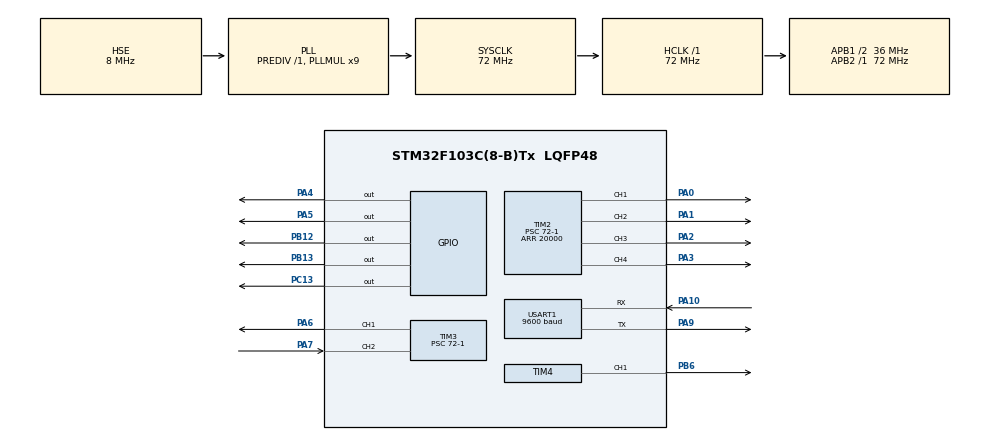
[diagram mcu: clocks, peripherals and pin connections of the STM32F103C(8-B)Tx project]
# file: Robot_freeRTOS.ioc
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FREERTOS.Tasks01=defaultTask,0,128,StartDefaultTask,Default,NULL,Dynamic,NULL,NULL;myTask02,0,128,StartTask02,Default,NULL,Dynamic,NULL,NULL;myTask03,0,128,StartTask03,Default,NULL,Dynamic,NULL,NULL;myTask04,0,128,StartTask04,Default,NULL,Dynamic,NULL,NULL;myTask05,0,128,StartTask05,Default,NULL,Dynamic,NULL,NULL
FREERTOS.configTOTAL_HEAP_SIZE=10000
Mcu.Family=STM32F1
Mcu.Name=STM32F103C(8-B)Tx
Mcu.Package=LQFP48
NVIC.PriorityGroup=NVIC_PRIORITYGROUP_4
NVIC.TIM1_UP_IRQn=true\:0\:0\:false\:false\:true\:false\:false\:true
NVIC.TIM3_IRQn=true\:5\:0\:false\:false\:true\:true\:true\:true
NVIC.TimeBase=TIM1_UP_IRQn
NVIC.TimeBaseIP=TIM1
PA0-WKUP.Signal=S_TIM2_CH1_ETR
PA1.Signal=S_TIM2_CH2
PA10.Mode=Asynchronous
PA10.Signal=USART1_RX
PA13.Mode=Serial_Wire
PA13.Signal=SYS_JTMS-SWDIO
PA14.Mode=Serial_Wire
PA14.Signal=SYS_JTCK-SWCLK
PA2.Signal=S_TIM2_CH3
PA3.Signal=S_TIM2_CH4
PA4.GPIO_Speed=GPIO_SPEED_FREQ_LOW
PA4.Signal=GPIO_Output
PA5.Signal=GPIO_Output
PA6.Signal=S_TIM3_CH1
PA7.GPIO_PuPd=GPIO_PULLUP
PA7.Signal=S_TIM3_CH2
PA9.Mode=Asynchronous
PA9.Signal=USART1_TX
PB12.GPIO_Speed=GPIO_SPEED_FREQ_HIGH
PB12.Signal=GPIO_Output
PB13.GPIO_Speed=GPIO_SPEED_FREQ_HIGH
PB13.Signal=GPIO_Output
PB6.Signal=S_TIM4_CH1
PC13-TAMPER-RTC.Signal=GPIO_Output
PD0-OSC_IN.Mode=HSE-External-Oscillator
PD0-OSC_IN.Signal=RCC_OSC_IN
PD1-OSC_OUT.Mode=HSE-External-Oscillator
PD1-OSC_OUT.Signal=RCC_OSC_OUT
ProjectManager.HeapSize=0x200
ProjectManager.StackSize=0x400
ProjectManager.TargetToolchain=MDK-ARM V5
RCC.AHBFreq_Value=72000000
RCC.APB1CLKDivider=RCC_HCLK_DIV2
RCC.APB1Freq_Value=36000000
RCC.APB1TimFreq_Value=72000000
RCC.APB2Freq_Value=72000000
RCC.APB2TimFreq_Value=72000000
RCC.HCLKFreq_Value=72000000
RCC.PLLMUL=RCC_PLL_MUL9
RCC.PLLSourceVirtual=RCC_PLLSOURCE_HSE
RCC.SYSCLKFreq_VALUE=72000000
RCC.SYSCLKSource=RCC_SYSCLKSOURCE_PLLCLK
RCC.USBFreq_Value=72000000
SH.S_TIM2_CH1_ETR.0=TIM2_CH1,PWM Generation1 CH1
SH.S_TIM2_CH2.0=TIM2_CH2,PWM Generation2 CH2
SH.S_TIM2_CH3.0=TIM2_CH3,PWM Generation3 CH3
SH.S_TIM2_CH4.0=TIM2_CH4,PWM Generation4 CH4
SH.S_TIM3_CH1.0=TIM3_CH1,PWM Generation1 CH1
SH.S_TIM3_CH2.0=TIM3_CH2,Input_Capture2_from_TI2
SH.S_TIM4_CH1.0=TIM4_CH1,PWM Generation1 CH1
TIM2.AutoReloadPreload=TIM_AUTORELOAD_PRELOAD_ENABLE
TIM2.Channel-PWM\ Generation1\ CH1=TIM_CHANNEL_1
TIM2.Channel-PWM\ Generation2\ CH2=TIM_CHANNEL_2
TIM2.Channel-PWM\ Generation3\ CH3=TIM_CHANNEL_3
TIM2.Channel-PWM\ Generation4\ CH4=TIM_CHANNEL_4
TIM2.Period=20000
TIM2.Prescaler=72-1
TIM3.AutoReloadPreload=TIM_AUTORELOAD_PRELOAD_ENABLE
TIM3.Channel-Input_Capture2_from_TI2=TIM_CHANNEL_2
TIM3.Channel-PWM\ Generation1\ CH1=TIM_CHANNEL_1
TIM3.Period=65535
TIM3.Prescaler=72-1
TIM4.AutoReloadPreload=TIM_AUTORELOAD_PRELOAD_ENABLE
TIM4.Channel-PWM\ Generation1\ CH1=TIM_CHANNEL_1
TIM4.Period=1000
TIM4.Prescaler=72-1
USART1.BaudRate=9600
USART1.VirtualMode=VM_ASYNC
VP_FREERTOS_VS_CMSIS_V1.Mode=CMSIS_V1
VP_SYS_VS_tim1.Mode=TIM1
board=custom

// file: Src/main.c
/* USER CODE BEGIN Header */
/**
  ******************************************************************************
  * @file           : main.c
  * @brief          : Main program body
  ******************************************************************************
  * @attention
  *
  * <h2><center>&copy; Copyright (c) 2021 STMicroelectronics.
  * All rights reserved.</center></h2>
  *
  * This software component is licensed by ST under Ultimate Liberty license
  * SLA0044, the "License"; You may not use this file except in compliance with
  * the License. You may obtain a copy of the License at:
  *                             www.st.com/SLA0044
  *
  ******************************************************************************
  */
/* USER CODE END Header */

#include "main.h"
#include "cmsis_os.h"
#include "tim.h"
#include "usart.h"
#include "gpio.h"

void SystemClock_Config(void);
void MX_FREERTOS_Init(void);

int main(void)
{

  /* MCU Configuration--------------------------------------------------------*/

  /* Reset of all peripherals, Initializes the Flash interface and the Systick. */
  HAL_Init();

  /* Configure the system clock */
  SystemClock_Config();

  /* Initialize all configured peripherals */
  MX_GPIO_Init();
  MX_TIM2_Init();
  MX_TIM3_Init();
  MX_USART1_UART_Init();
  MX_TIM4_Init();

  /* Call init function for freertos objects (in freertos.c) */
  MX_FREERTOS_Init();

  /* Start scheduler */
  osKernelStart();

  /* We should never get here as control is now taken by the scheduler */

  /* Infinite loop */
  while (1)
  {

  }
}

void SystemClock_Config(void)
{
  RCC_OscInitTypeDef RCC_OscInitStruct = {0};
  RCC_ClkInitTypeDef RCC_ClkInitStruct = {0};

  /** Initializes the CPU, AHB and APB busses clocks
  */
  RCC_OscInitStruct.OscillatorType = RCC_OSCILLATORTYPE_HSE;
  RCC_OscInitStruct.HSEState = RCC_HSE_ON;
  RCC_OscInitStruct.HSEPredivValue = RCC_HSE_PREDIV_DIV1;
  RCC_OscInitStruct.HSIState = RCC_HSI_ON;
  RCC_OscInitStruct.PLL.PLLState = RCC_PLL_ON;
  RCC_OscInitStruct.PLL.PLLSource = RCC_PLLSOURCE_HSE;
  RCC_OscInitStruct.PLL.PLLMUL = RCC_PLL_MUL9;
  if (HAL_RCC_OscConfig(&RCC_OscInitStruct) != HAL_OK)
  {
    Error_Handler();
  }
  /** Initializes the CPU, AHB and APB busses clocks
  */
  RCC_ClkInitStruct.ClockType = RCC_CLOCKTYPE_HCLK|RCC_CLOCKTYPE_SYSCLK
                              |RCC_CLOCKTYPE_PCLK1|RCC_CLOCKTYPE_PCLK2;
  RCC_ClkInitStruct.SYSCLKSource = RCC_SYSCLKSOURCE_PLLCLK;
  RCC_ClkInitStruct.AHBCLKDivider = RCC_SYSCLK_DIV1;
  RCC_ClkInitStruct.APB1CLKDivider = RCC_HCLK_DIV2;
  RCC_ClkInitStruct.APB2CLKDivider = RCC_HCLK_DIV1;

  if (HAL_RCC_ClockConfig(&RCC_ClkInitStruct, FLASH_LATENCY_2) != HAL_OK)
  {
    Error_Handler();
  }
}

void HAL_TIM_PeriodElapsedCallback(TIM_HandleTypeDef *htim)
{
  if (htim->Instance == TIM1) {
    HAL_IncTick();
  }
}

void Error_Handler(void)
{
}

/************************ (C) COPYRIGHT STMicroelectronics *****END OF FILE****/

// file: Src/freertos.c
/* USER CODE BEGIN Header */
/**
  ******************************************************************************
  * File Name          : freertos.c
  * Description        : Code for freertos applications
  ******************************************************************************
  * @attention
  *
  * <h2><center>&copy; Copyright (c) 2021 STMicroelectronics.
  * All rights reserved.</center></h2>
  *
  * This software component is licensed by ST under Ultimate Liberty license
  * SLA0044, the "License"; You may not use this file except in compliance with
  * the License. You may obtain a copy of the License at:
  *                             www.st.com/SLA0044
  *
  ******************************************************************************
  */
/* USER CODE END Header */

#include "FreeRTOS.h"
#include "task.h"
#include "main.h"
#include "cmsis_os.h"

/* USER CODE BEGIN Includes */
#include "robot.h"
#include "usart.h"
#include "st7565.h"
#include "pic.h"
/* USER CODE END Includes */

/* USER CODE BEGIN PM */

/*****************************************************************************************任务调度变量**/

unsigned char Task02end=1;  //线程2完成标志位
unsigned char Task03end=1;  //线程3完成标志位
unsigned char Step=0;       //步骤

unsigned char delay_time=25;//舵机间隔时间
unsigned char buff='4';//3动

unsigned int light=900;//背光0-1000

unsigned char image_num=7;//LCD显示的表情  1-9

unsigned char flag=0;

/********************************************************************************************红外*/
uint32_t upcount=0;//定时器更新的

unsigned int value_up=0;//上升沿的值
unsigned int value_down=0;

unsigned char isUpCapt=1;//是不是上升沿

unsigned int width=0;//储存脉宽

unsigned int buffer[48]={0};//红外接收缓冲区
unsigned char buffer_id=0;  //储存位置，从0开始放

unsigned char rcvFlag=0;//接收完标志位

void HAL_TIM_PWM_PulseFinishedCallback(TIM_HandleTypeDef *htim)
{
	if(htim==&htim3)
	{
		upcount++;
	}

}
void HAL_TIM_IC_CaptureCallback(TIM_HandleTypeDef *htim)
{
	if(htim==&htim3)
	{
		if(isUpCapt)//如果是上升沿捕获
	{
	value_up=HAL_TIM_ReadCapturedValue(htim,TIM_CHANNEL_2);//捕获上升沿的值
	isUpCapt=0;//设置为下降沿
	__HAL_TIM_SET_CAPTUREPOLARITY(htim,TIM_CHANNEL_2,TIM_ICPOLARITY_FALLING);//设置为下降沿捕获
	upcount=0;
	}
	else
	{
		value_down=HAL_TIM_ReadCapturedValue(htim,TIM_CHANNEL_2);//捕获下降沿的值
		isUpCapt=1;//设置为上升沿
		__HAL_TIM_SET_CAPTUREPOLARITY(htim,TIM_CHANNEL_2,TIM_ICPOLARITY_RISING);//设置为上升沿捕获
		width=value_down+upcount*65536-value_up;

		if(width>4400&&width<4600)//检测是否是同步码，4.5ms
		{
			buffer_id=0;
			buffer[buffer_id]=width;
			buffer_id++;
		}
		else if(buffer_id>0)//如果同步码收到了
		{
			buffer[buffer_id]=width;
			buffer_id++;
			if(buffer_id>32)
			{
				rcvFlag=1;
				buffer_id=0;//地址清零
			}
		}
	}
	}

}

uint32_t ir_value()
{
	uint32_t RCV_Value=0;//转换完后的
	if(rcvFlag==1)//如果收到了
	 {

		 for(unsigned char i=1;i<33;i++)
		 {
			 if(buffer[i]>500&&buffer[i]<700)//如果是低电平
			 {

				 RCV_Value=RCV_Value<<1;
			 }
			 else//否则是高电平
			 {
				 RCV_Value=RCV_Value|0x00000001;
				 RCV_Value=RCV_Value<<1;
			 }

		 }
		 RCV_Value=RCV_Value>>1;
		// printf("%X",RCV_Value);
		 for(unsigned char i=0;i<33;i++)//缓存区重置
		 {
			 buffer[i]=0;
		 }

		 rcvFlag=0;
		 return RCV_Value;
	 }
	 else
	 {
		 return 0;
	 }

}
void ir_Handler(uint32_t data)//红外任务
{
	/*
	用户码：00FF

	1: A25D    2: 629D    3:  E21D

	4: 22DD    5: 02FD    6:  C23D

	7: E01F    8: A857    9:  906F

 	*: 6897    0: 9867    #:  B04F

	          ↑：18E7

    ←：10EF  OK:38C7   →：5AA5

              ↓：4AB5

	*/
	if(data==0xFF6897)//按下*开始走
	{
		buff='3';
	}
	if(data==0xFFB04F)//按下#停止
	{
		buff='4';
	}

	if(data==0xFFA25D)
	{
		image_num=1;

	}
	if(data==0xFF629D)
	{
		image_num=2;
	}
	if(data==0xFFE21D)
	{
		image_num=3;
	}
	if(data==0xFF22DD)
	{
		image_num=4;
	}
	if(data==0xFF02FD)
	{
		image_num=5;
	}
	if(data==0xFFC23D)
	{
		image_num=6;
	}
	if(data==0xFFE01F)
	{
		image_num=7;
	}
	if(data==0xFFA857)
	{
		image_num=8;
	}
	if(data==0xFF906F)
	{
		image_num=9;
	}

	/*HAL_GPIO_WritePin(GPIOC,GPIO_PIN_13,0);
	osDelay(500);
	HAL_GPIO_WritePin(GPIOC,GPIO_PIN_13,1);*/

}

/* USER CODE END PM */

osThreadId defaultTaskHandle;
osThreadId myTask02Handle;
osThreadId myTask03Handle;
osThreadId myTask04Handle;
osThreadId myTask05Handle;

void StartDefaultTask(void const * argument);
void StartTask02(void const * argument);
void StartTask03(void const * argument);
void StartTask04(void const * argument);
void StartTask05(void const * argument);

void MX_FREERTOS_Init(void); /* (MISRA C 2004 rule 8.1) */

void MX_FREERTOS_Init(void) {

  /* Create the thread(s) */
  /* definition and creation of defaultTask */
  osThreadDef(defaultTask, StartDefaultTask, osPriorityNormal, 0, 128);
  defaultTaskHandle = osThreadCreate(osThread(defaultTask), NULL);

  /* definition and creation of myTask02 */
  osThreadDef(myTask02, StartTask02, osPriorityNormal, 0, 128);
  myTask02Handle = osThreadCreate(osThread(myTask02), NULL);

  /* definition and creation of myTask03 */
  osThreadDef(myTask03, StartTask03, osPriorityNormal, 0, 128);
  myTask03Handle = osThreadCreate(osThread(myTask03), NULL);

  /* definition and creation of myTask04 */
  osThreadDef(myTask04, StartTask04, osPriorityNormal, 0, 128);
  myTask04Handle = osThreadCreate(osThread(myTask04), NULL);

  /* definition and creation of myTask05 */
  osThreadDef(myTask05, StartTask05, osPriorityNormal, 0, 128);
  myTask05Handle = osThreadCreate(osThread(myTask05), NULL);

}

void StartDefaultTask(void const * argument)//主线程，分配舵机任务
{

    robot_init();

	initial_lcd();

  /* USER CODE BEGIN StartDefaultTask */
  /* Infinite loop */
  for(;;)
  {
	   __HAL_TIM_SET_COMPARE(&htim4, TIM_CHANNEL_1,light);

	  if(buff=='3')
	  {

		Step=1;//运行步骤一
		Task02end=1;
		Task03end=1;
		while(Task02end==1||Task03end==1)//等待完成
		{
			osDelay(100);
		}

		Step=2;//运行步骤二
		Task02end=1;
		Task03end=1;
		while(Task02end==1||Task03end==1)//等待完成
		{
			osDelay(100);
		}

		Step=3;//运行步骤三
		Task02end=1;
		while(Task02end==1)//等待完成
		{
			osDelay(100);
		}

		Step=4;//运行步骤四
		Task02end=1;
		while(Task02end==1)//等待完成
		{
			osDelay(100);
		}

		Step=5;//运行步骤五
		Task02end=1;
		Task03end=1;
		while(Task02end==1||Task03end==1)//等待完成
		{
			osDelay(100);
		}

		Step=6;//运行步骤六
		Task02end=1;
		Task03end=1;
		while(Task02end==1||Task03end==1)//等待完成
		{
			osDelay(100);
		}

		Step=7;//运行步骤七
		Task02end=1;
		while(Task02end==1)//等待完成
		{
			osDelay(100);
		}

		Step=8;//运行步骤八
		Task02end=1;
		while(Task02end==1)//等待完成
		{
			osDelay(100);
		}

	}
	  else
	  {
		  __HAL_TIM_SET_COMPARE(&htim2, TIM_CHANNEL_1,angle_to_duty_cycle(70));//左脚
		  __HAL_TIM_SET_COMPARE(&htim2, TIM_CHANNEL_2,angle_to_duty_cycle(90));//左跨
	      __HAL_TIM_SET_COMPARE(&htim2, TIM_CHANNEL_3,angle_to_duty_cycle(79));//右脚
	      __HAL_TIM_SET_COMPARE(&htim2, TIM_CHANNEL_4,angle_to_duty_cycle(95));//右跨
	  }

  }
  /* USER CODE END StartDefaultTask */
}

void StartTask02(void const * argument)//舵机同时运动线程1
{
  /* USER CODE BEGIN StartTask02 */
  /* Infinite loop */
  for(;;)
  {

			if(Step==1&&Task02end==1)
			{
				osDelay(500);
				for(unsigned char i=70;i<=90;i++)//右脚抬起
				{
					__HAL_TIM_SET_COMPARE(&htim2, TIM_CHANNEL_1,angle_to_duty_cycle(i));
					osDelay(delay_time);
				}
				Task02end=0;
			}
			if(Step==2&&Task02end==1)
			{

				for(unsigned char i=90;i>=70;i--)//左跨向前转
				{
					__HAL_TIM_SET_COMPARE(&htim2, TIM_CHANNEL_2,angle_to_duty_cycle(i));
					osDelay(delay_time);
				}
				Task02end=0;
			}

			if(Step==3&&Task02end==1)
			{
				for(unsigned char i=90;i>=70;i--)//右脚放下
				{
					__HAL_TIM_SET_COMPARE(&htim2, TIM_CHANNEL_1,angle_to_duty_cycle(i));
					osDelay(delay_time);
				}

				Task02end=0;
			}
			if(Step==4&&Task02end==1)
			{
				for(unsigned char i=70;i<=90;i++)//左跨复位
				{
					__HAL_TIM_SET_COMPARE(&htim2, TIM_CHANNEL_2,angle_to_duty_cycle(i));
					osDelay(delay_time);
				}
				Task02end=0;
			}
			if(Step==5&&Task02end==1)
			{
				osDelay(500);
				for(unsigned char i=79;i>=59;i--)//左跨复位
				{
					__HAL_TIM_SET_COMPARE(&htim2, TIM_CHANNEL_3,angle_to_duty_cycle(i));
					osDelay(delay_time);
				}
				Task02end=0;
			}
			if(Step==6&&Task02end==1)
			{
				for(unsigned char i=95;i<=115;i++)
				{
					__HAL_TIM_SET_COMPARE(&htim2, TIM_CHANNEL_4,angle_to_duty_cycle(i));
					osDelay(delay_time);
				}
				Task02end=0;
			}
			if(Step==7&&Task02end==1)
			{
				for(unsigned char i=59;i<=79;i++)
				{
					__HAL_TIM_SET_COMPARE(&htim2, TIM_CHANNEL_3,angle_to_duty_cycle(i));
					osDelay(delay_time);
				}
				Task02end=0;
			}
			if(Step==8&&Task02end==1)
			{
				for(unsigned char i=115;i>=95;i--)
				{
					__HAL_TIM_SET_COMPARE(&htim2, TIM_CHANNEL_4,angle_to_duty_cycle(i));
					osDelay(delay_time);
				}
				Task02end=0;
			}

		 /* for(unsigned int i=0;i<1000;i++)
			{
				light=i;
				osDelay(2);
			}
			for(unsigned int i=1000;i>0;i--)
			{
				light=i;
				osDelay(2);
			}
	*/

    osDelay(1);
  }
  /* USER CODE END StartTask02 */
}

void StartTask03(void const * argument)//舵机同时运动线程2
{
  /* USER CODE BEGIN StartTask03 */
  /* Infinite loop */
  for(;;)
  {
	  if(Step==1&&Task03end==1)
	  {
		  for(unsigned char i=79;i<=120;i++)//右脚助推
		  {
	         __HAL_TIM_SET_COMPARE(&htim2, TIM_CHANNEL_3,angle_to_duty_cycle(i));
	         osDelay(delay_time);
		  }

		  Task03end=0;
	  }

	  if(Step==2&&Task03end==1)
	  {
		  for(unsigned char i=120;i>=79;i--)//右脚复位
		  {
			__HAL_TIM_SET_COMPARE(&htim2, TIM_CHANNEL_3,angle_to_duty_cycle(i));
			osDelay(delay_time);
		  }
		  /*for(unsigned char i=79;i<=120;i++)
		  {
			__HAL_TIM_SET_COMPARE(&htim2, TIM_CHANNEL_3,angle_to_duty_cycle(i));
			osDelay(delay_time);
		  }*/

		  Task03end=0;
	  }
	  if(Step==5&&Task03end==1)
	  {
		  for(unsigned char i=70;i>=38;i--)
		  {
			__HAL_TIM_SET_COMPARE(&htim2, TIM_CHANNEL_1,angle_to_duty_cycle(i));
			osDelay(delay_time);
		  }

		  Task03end=0;
	  }
	  if(Step==6&&Task03end==1)
	  {
		  for(unsigned char i=38;i<=70;i++)
		  {
			__HAL_TIM_SET_COMPARE(&htim2, TIM_CHANNEL_1,angle_to_duty_cycle(i));
			osDelay(delay_time);
		  }

		  Task03end=0;
	  }

    osDelay(1);
  }
  /* USER CODE END StartTask03 */
}

void StartTask04(void const * argument)//屏幕更新线程
{
  /* USER CODE BEGIN StartTask04 */
  /* Infinite loop */
  for(;;)
  {
	 flag=1;
		  switch(image_num)
		{
		  case 1:disp_grap(1,1,expression1);break;
		  case 2:disp_grap(1,1,expression2);break;
		  case 3:disp_grap(1,1,expression3);break;
		  case 4:disp_grap(1,1,expression4);break;
		  case 5:disp_grap(1,1,expression5);break;
		  case 6:disp_grap(1,1,expression6);break;
		  case 7:disp_grap(1,1,expression7);break;
		  case 8:disp_grap(1,1,expression8);break;
		  case 9:disp_grap(1,1,expression9);break;
		}
	  flag=0;
	  osDelay(400);

  }
  /* USER CODE END StartTask04 */
}

void StartTask05(void const * argument)//红外遥控读取线程
{
  /* USER CODE BEGIN StartTask05 */
  /* Infinite loop */
  for(;;)
  {
	  if(flag==0)
	{
		ir_Handler(ir_value());//红外任务
	}

	 osDelay(400);

  }
  /* USER CODE END StartTask05 */
}

/************************ (C) COPYRIGHT STMicroelectronics *****END OF FILE****/
